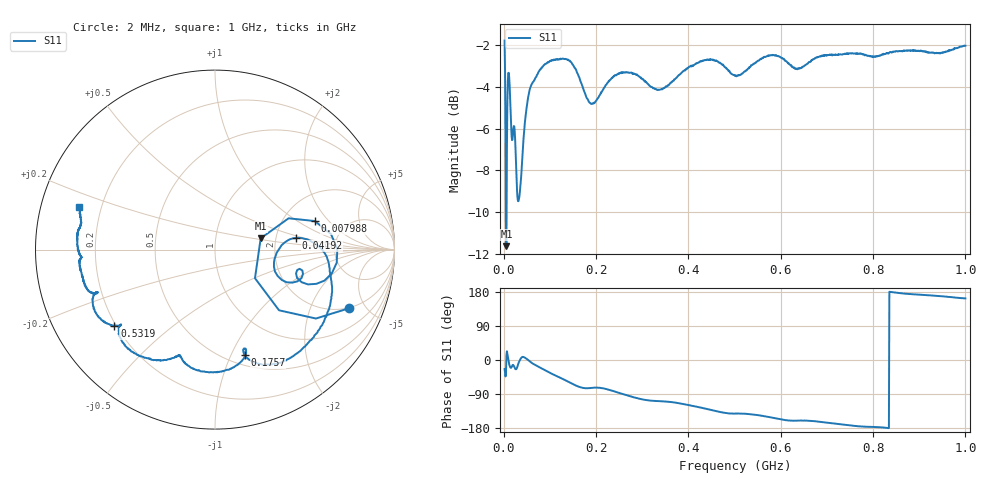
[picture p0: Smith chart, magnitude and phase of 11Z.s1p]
!Keysight Technologies N9923A: A.08.19
!Date: Thursday, 16 January 2020 11:30:00
!TimeZone: (GMT-03:00) Brasilia!Model: N9923A
!Serial: MY51491501
!GPS Latitude:
!GPS Longitude:
!GPS TimeStamp: 0001-01-01 00:00:00Z
!GPS Seconds Since Last Read: 0
!CHECKSUM:1078980270
!Correction: S11(ON U)
!S1P File: Measurement: S11:
# Hz S DB R 50
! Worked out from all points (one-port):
!   1001 points, 2 MHz to 1 GHz, reference 50 ohm
!   lowest |S11| = -11.6 dB at 5.992 MHz (marker M1), VSWR 1.71, Z = 83.2 + j11.2 ohm
!   |S11| at or under -10 dB: 4.749 MHz to 6.345 MHz (1.596 MHz wide, 28.8 % of centre)
!   S11 on the Smith chart (normalised r, x): 2 MHz: 1.96, -3.83; 7.988 MHz: 2.99, +1.43; 41.92 MHz: 2.60, +0.43; 175.7 MHz: 0.60, -1.13; 531.9 MHz: 0.19, -0.33; 1 GHz: 0.12, +0.15
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2000000  -1.77 -23.6
5992000  -11.63 13.8
7988000  -4.75 16.0
1.0982e7  -3.32 -6.1
1.2978e7  -3.96 -15.8
1.697e7  -6.30 -19.1
2.5952e7  -7.16 -24.5
3.2938e7  -9.38 -5.7
4.192e7  -6.82 8.2
5.5892e7  -4.17 -2.9
7.5852e7  -3.27 -18.0
1.2675e8  -2.65 -49.4
1.517e8  -3.00 -64.8
1.75652e8  -4.29 -74.3
1.93616e8  -4.80 -73.4
2.15572e8  -4.11 -74.8
2.515e8  -3.35 -87.5
3.014e8  -3.62 -104.1
3.7625e8  -3.50 -113.5
4.58086e8  -2.75 -134.2
5.01e8  -3.47 -141.4
5.31938e8  -3.05 -142.8
5.86828e8  -2.49 -153.4
6.2575e8  -3.04 -160.2
6.74652e8  -2.61 -161.6
7.505e8  -2.38 -172.6
8.7525e8  -2.26 174.5
1e9  -2.03 162.4
